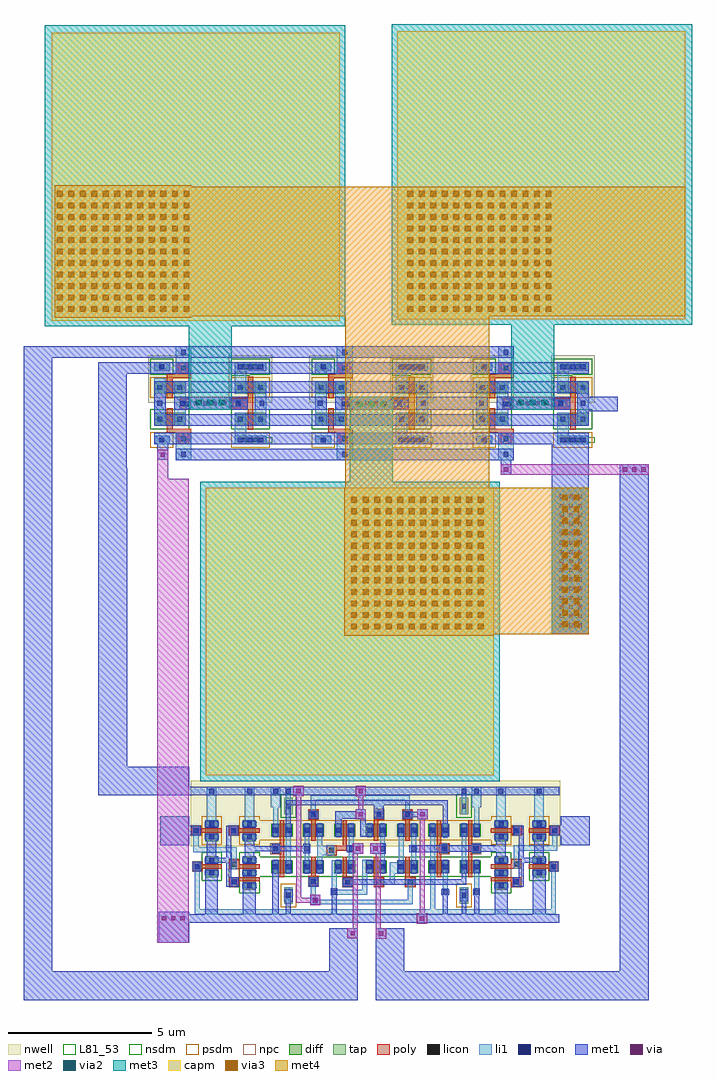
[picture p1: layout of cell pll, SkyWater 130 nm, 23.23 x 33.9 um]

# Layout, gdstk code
from math import pi, radians
import gdstk
lib = gdstk.Library(unit=1e-6, precision=1e-09)
def R(c, l, rs):  # rectangles x0, y0, x1, y1
    for r in rs: c.add(gdstk.rectangle(r[:2], r[2:], *l))
def A(c, l, x, y, w, h, nx, ny, dx, dy):  # array of equal rectangles
    R(c, l, [(x+i*dx, y+j*dy, x+i*dx+w, y+j*dy+h) for i in range(nx) for j in range(ny)])
nwell = (64, 20)
diff = (65, 20)
tap = (65, 44)
poly = (66, 20)
licon = (66, 44)
li1 = (67, 20)
mcon = (67, 44)
met1 = (68, 20)
via = (68, 44)
met2 = (69, 20)
via2 = (69, 44)
met3 = (70, 20)
via3 = (70, 44)
met4 = (71, 20)
L81_53 = (81, 53)
capm = (89, 44)
nsdm = (93, 44)
psdm = (94, 20)
npc = (95, 20)

vcopll = lib.new_cell('vcopll')
A(vcopll, nwell, 0.6, 4.6, 1.5, 1.65, 6, 1, 2.8, 0)
A(vcopll, diff, 0.8, 3.8, 1.1, 0.45, 6, 2, 2.8, 1.1)
A(vcopll, tap, 0.8, 3.15, 0.55, 0.3, 3, 2, 5.6, 2.55)
A(vcopll, tap, 3.6, 3.15, 1.1, 0.3, 3, 2, 5.6, 2.55)
A(vcopll, tap, 3.6, 5.65, 0.4, 0.05, 3, 1, 5.6, 0)
A(vcopll, poly, 1.55, 3.15, 0.55, 0.4, 3, 2, 5.6, 2.45)
A(vcopll, poly, 1.25, 3.55, 0.85, 0.15, 3, 2, 5.6, 1.9)
A(vcopll, poly, 4.05, 3.65, 0.2, 0.7, 3, 1, 5.6, 0)
A(vcopll, poly, 1.25, 3.7, 0.2, 0.7, 3, 2, 5.6, 1.05)
A(vcopll, poly, 1.7, 4.35, 0.4, 0.4, 3, 1, 5.6, 0)
A(vcopll, poly, 3.4, 4.35, 0.85, 0.4, 3, 1, 5.6, 0)
A(vcopll, poly, 4.05, 4.75, 0.2, 0.75, 3, 1, 5.6, 0)
A(vcopll, licon, 1.74, 3.265, 0.17, 0.17, 3, 2, 5.6, 2.45)
R(vcopll, licon, [(0.99,3.215,1.16,3.385), (3.895,3.215,4.065,3.385), (4.235,3.215,4.405,3.385), (6.59,3.215,6.76,3.385), (9.495,3.215,9.665,3.385), (9.835,3.215,10.005,3.385), (12.19,3.215,12.36,3.385), (15.095,3.215,15.265,3.385), (15.435,3.215,15.605,3.385), (0.915,3.94,1.085,4.11), (1.615,3.94,1.785,4.11), (3.715,3.94,3.885,4.11), (4.415,3.94,4.585,4.11), (6.515,3.94,6.685,4.11), (7.215,3.94,7.385,4.11), (9.315,3.94,9.485,4.11), (10.015,3.94,10.185,4.11), (12.115,3.94,12.285,4.11), (12.815,3.94,12.985,4.11), (14.915,3.94,15.085,4.11), (15.615,3.94,15.785,4.11), (1.815,4.465,1.985,4.635), (3.64,4.465,3.81,4.635), (7.415,4.465,7.585,4.635), (9.24,4.465,9.41,4.635), (13.015,4.465,13.185,4.635), (14.84,4.465,15.01,4.635), (0.915,5.04,1.085,5.21), (1.615,5.04,1.785,5.21), (3.715,5.04,3.885,5.21), (4.415,5.04,4.585,5.21), (6.515,5.04,6.685,5.21), (7.215,5.04,7.385,5.21), (9.315,5.04,9.485,5.21), (10.015,5.04,10.185,5.21), (12.115,5.04,12.285,5.21), (12.815,5.04,12.985,5.21), (14.915,5.04,15.085,5.21), (15.615,5.04,15.785,5.21), (0.99,5.765,1.16,5.935), (3.895,5.765,4.065,5.935), (4.235,5.765,4.405,5.935), (6.59,5.765,6.76,5.935), (9.495,5.765,9.665,5.935), (9.835,5.765,10.005,5.935), (12.19,5.765,12.36,5.935), (15.095,5.765,15.265,5.935), (15.435,5.765,15.605,5.935)])
A(vcopll, li1, 1.55, 2.6, 0.55, 0.95, 3, 2, 5.6, 3)
A(vcopll, li1, 0.8, 3.15, 0.55, 0.3, 3, 2, 5.6, 2.55)
A(vcopll, li1, 3.6, 3.15, 1.1, 0.3, 3, 2, 5.6, 2.55)
A(vcopll, li1, 3.6, 3.45, 0.4, 0.8, 3, 2, 5.6, 1.45)
A(vcopll, li1, 1.5, 3.8, 0.4, 0.55, 3, 1, 5.6, 0)
A(vcopll, li1, 1.5, 4.35, 0.6, 0.4, 3, 1, 5.6, 0)
A(vcopll, li1, 3.4, 4.45, 0.65, 0.25, 3, 1, 5.6, 0)
A(vcopll, li1, 1.5, 4.75, 0.4, 0.6, 3, 1, 5.6, 0)
R(vcopll, li1, [(0.8,3.8,1.2,5.45), (4.3,3.8,4.7,5.35), (6.4,3.8,6.8,5.35), (9.9,3.8,10.3,5.35), (12,3.8,12.4,5.35), (15.5,3.8,15.9,5.35), (6.4,5.6,6.8,5.7), (12,5.6,12.4,5.7)])
A(vcopll, mcon, 1.74, 2.715, 0.17, 0.17, 3, 2, 5.6, 3.55)
A(vcopll, mcon, 3.705, 3.215, 0.17, 0.17, 3, 2, 0.36, 2.55)
A(vcopll, mcon, 9.305, 3.215, 0.17, 0.17, 3, 2, 0.36, 2.55)
A(vcopll, mcon, 14.905, 3.215, 0.17, 0.17, 3, 2, 0.36, 2.55)
R(vcopll, mcon, [(0.99,3.215,1.16,3.385), (6.59,3.215,6.76,3.385), (12.19,3.215,12.36,3.385), (7.315,4.465,7.485,4.635), (12.915,4.465,13.085,4.635), (0.915,4.49,1.085,4.66), (1.715,4.49,1.885,4.66), (3.64,4.49,3.81,4.66), (4.465,4.49,4.635,4.66), (6.49,4.49,6.66,4.66), (9.24,4.49,9.41,4.66), (10.065,4.49,10.235,4.66), (12.09,4.49,12.26,4.66), (14.84,4.49,15.01,4.66), (15.615,4.49,15.785,4.66), (0.99,5.765,1.16,5.935), (6.59,5.765,6.76,5.935), (12.19,5.765,12.36,5.935)])
A(vcopll, met1, 1.5, 4.35, 2.55, 0.45, 3, 1, 5.6, 0)
R(vcopll, met1, [(14.61,-3.45,15.9,3.15), (1.55,2.6,13.3,3), (0.8,3.15,15.9,3.55), (0.8,3.8,15.9,4.2), (0.8,4.2,1.2,4.95), (15.5,4.2,15.9,4.3), (15.5,4.3,16.9,4.8), (4.3,4.35,6.8,4.8), (9.9,4.35,12.4,4.8), (15.5,4.8,15.9,4.95), (0.8,4.95,15.9,5.35), (0.8,5.6,15.9,6), (0.8,6.15,13.3,6.55)])
A(vcopll, via, 14.88, -3.215, 0.15, 0.15, 3, 15, 0.32, 0.32)
A(vcopll, via, 2.195, 4.5, 0.15, 0.15, 4, 1, 0.32, 0)
A(vcopll, via, 7.795, 4.5, 0.15, 0.15, 4, 1, 0.32, 0)
A(vcopll, via, 13.395, 4.5, 0.15, 0.15, 4, 1, 0.32, 0)
A(vcopll, met2, 2, 4.35, 1.5, 0.45, 3, 1, 5.6, 0)
R(vcopll, met2, [(14.61,-3.45,15.9,1.65)])
A(vcopll, via2, 14.975, -3.2, 0.2, 0.2, 1, 12, 0, 0.4)
A(vcopll, via2, 15.375, -3.2, 0.2, 0.2, 1, 12, 0, 0.4)
A(vcopll, via2, 7.85, 4.45, 0.2, 0.2, 3, 1, 0.4, 0)
A(vcopll, via2, 2.25, 4.5, 0.2, 0.2, 3, 1, 0.4, 0)
A(vcopll, via2, 13.45, 4.5, 0.2, 0.2, 3, 1, 0.4, 0)
R(vcopll, met3, [(2.4,-8.55,12.8,1.85), (14.61,-3.45,15.9,1.65), (7.6,1.85,9.1,4.8), (2,4.35,3.5,7.25), (13.2,4.35,14.7,7.3), (-3,7.25,7.45,17.7), (9.05,7.3,19.5,17.75)])
A(vcopll, via3, 7.65, -3.275, 0.2, 0.2, 12, 12, 0.4, 0.4)
A(vcopll, via3, 14.975, -3.2, 0.2, 0.2, 1, 12, 0, 0.4)
A(vcopll, via3, 15.375, -3.2, 0.2, 0.2, 1, 12, 0, 0.4)
A(vcopll, via3, -2.575, 7.75, 0.2, 0.2, 12, 11, 0.4, 0.4)
A(vcopll, via3, 9.6, 7.75, 0.2, 0.2, 13, 11, 0.4, 0.4)
R(vcopll, met4, [(7.4,-3.5,12.6,-3.45), (7.4,-3.45,15.9,1.65), (7.45,1.65,12.45,7.6), (-2.65,7.55,2.1,7.6), (-2.65,7.6,19.25,12.1), (-2.65,12.1,2.1,12.15)])
A(vcopll, L81_53, 4.7, 3.2, 0.2, 0.05, 3, 1, 5.6, 0)
A(vcopll, L81_53, 4, 3.25, 0.05, 0.2, 3, 1, 5.6, 0)
A(vcopll, L81_53, 4.2, 3.25, 0.7, 0.15, 3, 1, 5.6, 0)
A(vcopll, L81_53, 4.2, 3.4, 0.5, 0.05, 3, 1, 5.6, 0)
R(vcopll, L81_53, [(1.9,3.15,2.1,3.35), (7.15,3.15,7.7,3.55), (12.75,3.15,13.3,3.55)])
R(vcopll, capm, [(2.6,-8.35,12.6,1.65), (-2.75,7.45,7.25,17.45), (9.25,7.5,19.25,17.5)])
A(vcopll, nsdm, 0.675, 3.675, 1.35, 0.7, 6, 1, 2.8, 0)
A(vcopll, nsdm, 3.475, 5.525, 0.65, 0.05, 3, 1, 5.6, 0)
A(vcopll, nsdm, 0.675, 5.575, 0.8, 0.55, 3, 1, 5.6, 0)
A(vcopll, nsdm, 3.475, 5.575, 1.35, 0.55, 3, 1, 5.6, 0)
A(vcopll, psdm, 0.675, 3.025, 0.8, 0.55, 3, 1, 5.6, 0)
A(vcopll, psdm, 3.475, 3.025, 1.35, 0.55, 3, 1, 5.6, 0)
A(vcopll, psdm, 0.675, 4.775, 1.35, 0.7, 6, 1, 2.8, 0)
A(vcopll, npc, 1.64, 3.165, 0.37, 0.37, 3, 2, 5.6, 2.45)
R(vcopll, npc, [(1.715,4.365,2.085,4.735), (3.54,4.365,3.91,4.735), (7.315,4.365,7.685,4.735), (9.14,4.365,9.51,4.735), (12.915,4.365,13.285,4.735), (14.74,4.365,15.11,4.735)])
vcopll.add(gdstk.Label('VPWR', (15.9,5.81), layer=68, texttype=5))
vcopll.add(gdstk.Label('VCON-', (0.8,6.31), layer=68, texttype=5))
vcopll.add(gdstk.Label('OUT_VCO', (16.9,4.54), layer=68, texttype=5))
vcopll.add(gdstk.Label('VCON+', (1.56,2.77), layer=68, texttype=5))
vcopll.add(gdstk.Label('VGND', (15.9,2.49), layer=68, texttype=5))

sky130_fd_pr__nfet_01v8_ = lib.new_cell('sky130_fd_pr__nfet_01v8_BH4Y4M')
R(sky130_fd_pr__nfet_01v8_, diff, [(-0.365,-0.225,0.365,0.225)])
R(sky130_fd_pr__nfet_01v8_, poly, [(-0.075,-0.355,0.075,0.355)])
R(sky130_fd_pr__nfet_01v8_, licon, [(-0.305,-0.085,-0.135,0.085), (0.135,-0.085,0.305,0.085)])
R(sky130_fd_pr__nfet_01v8_, li1, [(-0.305,-0.245,-0.135,0.245), (0.135,-0.245,0.305,0.245)])
R(sky130_fd_pr__nfet_01v8_, mcon, [(-0.305,-0.085,-0.135,0.085), (0.135,-0.085,0.305,0.085)])
R(sky130_fd_pr__nfet_01v8_, met1, [(-0.335,-0.225,-0.105,0.225), (0.105,-0.225,0.335,0.225)])
R(sky130_fd_pr__nfet_01v8_, nsdm, [(-0.49,-0.35,0.49,0.35)])

c_sky130_fd_pr__nfet_01v8_ = lib.new_cell('sky130_fd_pr__nfet_01v8_9N7ETN')
R(c_sky130_fd_pr__nfet_01v8_, diff, [(-0.365,-0.38,0.365,0.07)])
R(c_sky130_fd_pr__nfet_01v8_, poly, [(-0.075,-0.51,0.075,0.18), (-0.165,0.18,0.165,0.51)])
R(c_sky130_fd_pr__nfet_01v8_, licon, [(-0.305,-0.24,-0.135,-0.07), (0.135,-0.24,0.305,-0.07), (-0.085,0.26,0.085,0.43)])
R(c_sky130_fd_pr__nfet_01v8_, li1, [(-0.305,-0.4,-0.135,0.09), (0.135,-0.4,0.305,0.09), (-0.165,0.26,0.165,0.43)])
R(c_sky130_fd_pr__nfet_01v8_, mcon, [(-0.305,-0.24,-0.135,-0.07), (0.135,-0.24,0.305,-0.07), (-0.085,0.26,0.085,0.43)])
R(c_sky130_fd_pr__nfet_01v8_, met1, [(-0.335,-0.38,-0.105,0.07), (0.105,-0.38,0.335,0.07), (-0.145,0.23,0.145,0.46)])
R(c_sky130_fd_pr__nfet_01v8_, nsdm, [(-0.49,-0.505,0.49,0.195)])
R(c_sky130_fd_pr__nfet_01v8_, npc, [(-0.185,0.16,0.185,0.53)])

sky130_fd_pr__pfet_01v8_ = lib.new_cell('sky130_fd_pr__pfet_01v8_MJZT9K')
R(sky130_fd_pr__pfet_01v8_, nwell, [(-0.545,-0.715,0.545,0.545)])
R(sky130_fd_pr__pfet_01v8_, diff, [(-0.365,-0.405,0.365,0.045)])
R(sky130_fd_pr__pfet_01v8_, poly, [(-0.075,-0.535,0.075,0.2), (-0.165,0.2,0.165,0.53)])
R(sky130_fd_pr__pfet_01v8_, licon, [(-0.305,-0.265,-0.135,-0.095), (0.135,-0.265,0.305,-0.095), (-0.085,0.28,0.085,0.45)])
R(sky130_fd_pr__pfet_01v8_, li1, [(-0.305,-0.425,-0.135,0.065), (0.135,-0.425,0.305,0.065), (-0.165,0.28,0.165,0.45)])
R(sky130_fd_pr__pfet_01v8_, mcon, [(-0.305,-0.265,-0.135,-0.095), (0.135,-0.265,0.305,-0.095), (-0.085,0.28,0.085,0.45)])
R(sky130_fd_pr__pfet_01v8_, met1, [(-0.335,-0.405,-0.105,0.045), (0.105,-0.405,0.335,0.045), (-0.145,0.25,0.145,0.48)])
R(sky130_fd_pr__pfet_01v8_, psdm, [(-0.49,-0.53,0.49,0.17)])
R(sky130_fd_pr__pfet_01v8_, npc, [(-0.185,0.18,0.185,0.55)])

c_sky130_fd_pr__nfet_01v8__ = lib.new_cell('sky130_fd_pr__nfet_01v8_9NP8AN')
R(c_sky130_fd_pr__nfet_01v8__, diff, [(-0.365,-0.225,0.365,0.225)])
R(c_sky130_fd_pr__nfet_01v8__, poly, [(-0.075,-0.355,0.075,0.355)])
R(c_sky130_fd_pr__nfet_01v8__, licon, [(-0.305,-0.085,-0.135,0.085), (0.135,-0.085,0.305,0.085)])
R(c_sky130_fd_pr__nfet_01v8__, li1, [(-0.305,-0.245,-0.135,0.245), (0.135,-0.245,0.305,0.245)])
R(c_sky130_fd_pr__nfet_01v8__, mcon, [(-0.305,-0.085,-0.135,0.085), (0.135,-0.085,0.305,0.085)])
R(c_sky130_fd_pr__nfet_01v8__, met1, [(-0.335,-0.225,-0.105,0.225), (0.105,-0.225,0.335,0.225)])
R(c_sky130_fd_pr__nfet_01v8__, nsdm, [(-0.49,-0.35,0.49,0.35)])

c_sky130_fd_pr__pfet_01v8_ = lib.new_cell('sky130_fd_pr__pfet_01v8_27PL9K')
R(c_sky130_fd_pr__pfet_01v8_, nwell, [(-0.545,-0.535,0.545,0.535)])
R(c_sky130_fd_pr__pfet_01v8_, diff, [(-0.365,-0.225,0.365,0.225)])
R(c_sky130_fd_pr__pfet_01v8_, poly, [(-0.075,-0.355,0.075,0.355)])
R(c_sky130_fd_pr__pfet_01v8_, licon, [(-0.305,-0.085,-0.135,0.085), (0.135,-0.085,0.305,0.085)])
R(c_sky130_fd_pr__pfet_01v8_, li1, [(-0.305,-0.245,-0.135,0.245), (0.135,-0.245,0.305,0.245)])
R(c_sky130_fd_pr__pfet_01v8_, mcon, [(-0.305,-0.085,-0.135,0.085), (0.135,-0.085,0.305,0.085)])
R(c_sky130_fd_pr__pfet_01v8_, met1, [(-0.335,-0.225,-0.105,0.225), (0.105,-0.225,0.335,0.225)])
R(c_sky130_fd_pr__pfet_01v8_, psdm, [(-0.49,-0.35,0.49,0.35)])

c_sky130_fd_pr__nfet_01v8___ = lib.new_cell('sky130_fd_pr__nfet_01v8_ZVHWZ3')
R(c_sky130_fd_pr__nfet_01v8___, diff, [(-0.365,-0.38,0.365,0.07)])
R(c_sky130_fd_pr__nfet_01v8___, poly, [(-0.075,-0.51,0.075,0.18), (-0.165,0.18,0.165,0.51)])
R(c_sky130_fd_pr__nfet_01v8___, licon, [(-0.305,-0.24,-0.135,-0.07), (0.135,-0.24,0.305,-0.07), (-0.085,0.26,0.085,0.43)])
R(c_sky130_fd_pr__nfet_01v8___, li1, [(-0.305,-0.4,-0.135,0.09), (0.135,-0.4,0.305,0.09), (-0.165,0.26,0.165,0.43)])
R(c_sky130_fd_pr__nfet_01v8___, mcon, [(-0.305,-0.24,-0.135,-0.07), (0.135,-0.24,0.305,-0.07), (-0.085,0.26,0.085,0.43)])
R(c_sky130_fd_pr__nfet_01v8___, met1, [(-0.335,-0.38,-0.105,0.07), (0.105,-0.38,0.335,0.07), (-0.145,0.23,0.145,0.46)])
R(c_sky130_fd_pr__nfet_01v8___, nsdm, [(-0.49,-0.505,0.49,0.195)])
R(c_sky130_fd_pr__nfet_01v8___, npc, [(-0.185,0.16,0.185,0.53)])

c_sky130_fd_pr__pfet_01v8__ = lib.new_cell('sky130_fd_pr__pfet_01v8_AWEQGB')
R(c_sky130_fd_pr__pfet_01v8__, nwell, [(-0.545,-0.715,0.545,0.545)])
R(c_sky130_fd_pr__pfet_01v8__, diff, [(-0.365,-0.405,0.365,0.045)])
R(c_sky130_fd_pr__pfet_01v8__, poly, [(-0.075,-0.535,0.075,0.2), (-0.165,0.2,0.165,0.53)])
R(c_sky130_fd_pr__pfet_01v8__, licon, [(-0.305,-0.265,-0.135,-0.095), (0.135,-0.265,0.305,-0.095), (-0.085,0.28,0.085,0.45)])
R(c_sky130_fd_pr__pfet_01v8__, li1, [(-0.305,-0.425,-0.135,0.065), (0.135,-0.425,0.305,0.065), (-0.165,0.28,0.165,0.45)])
R(c_sky130_fd_pr__pfet_01v8__, mcon, [(-0.305,-0.265,-0.135,-0.095), (0.135,-0.265,0.305,-0.095), (-0.085,0.28,0.085,0.45)])
R(c_sky130_fd_pr__pfet_01v8__, met1, [(-0.335,-0.405,-0.105,0.045), (0.105,-0.405,0.335,0.045), (-0.145,0.25,0.145,0.48)])
R(c_sky130_fd_pr__pfet_01v8__, psdm, [(-0.49,-0.53,0.49,0.17)])
R(c_sky130_fd_pr__pfet_01v8__, npc, [(-0.185,0.18,0.185,0.55)])

c_sky130_fd_pr__pfet_01v8___ = lib.new_cell('sky130_fd_pr__pfet_01v8_52DJGB')
R(c_sky130_fd_pr__pfet_01v8___, nwell, [(-0.545,-0.535,0.545,0.535)])
R(c_sky130_fd_pr__pfet_01v8___, diff, [(-0.365,-0.225,0.365,0.225)])
R(c_sky130_fd_pr__pfet_01v8___, poly, [(-0.075,-0.355,0.075,0.355)])
R(c_sky130_fd_pr__pfet_01v8___, licon, [(-0.305,-0.085,-0.135,0.085), (0.135,-0.085,0.305,0.085)])
R(c_sky130_fd_pr__pfet_01v8___, li1, [(-0.305,-0.245,-0.135,0.245), (0.135,-0.245,0.305,0.245)])
R(c_sky130_fd_pr__pfet_01v8___, mcon, [(-0.305,-0.085,-0.135,0.085), (0.135,-0.085,0.305,0.085)])
R(c_sky130_fd_pr__pfet_01v8___, met1, [(-0.335,-0.225,-0.105,0.225), (0.105,-0.225,0.335,0.225)])
R(c_sky130_fd_pr__pfet_01v8___, psdm, [(-0.49,-0.35,0.49,0.35)])

c_sky130_fd_pr__nfet_01v8____ = lib.new_cell('sky130_fd_pr__nfet_01v8_9NESAN')
R(c_sky130_fd_pr__nfet_01v8____, diff, [(-0.365,-0.07,0.365,0.38)])
R(c_sky130_fd_pr__nfet_01v8____, poly, [(-0.165,-0.51,0.165,-0.18), (-0.075,-0.18,0.075,0.51)])
R(c_sky130_fd_pr__nfet_01v8____, licon, [(-0.085,-0.43,0.085,-0.26), (-0.305,0.07,-0.135,0.24), (0.135,0.07,0.305,0.24)])
R(c_sky130_fd_pr__nfet_01v8____, li1, [(-0.165,-0.43,0.165,-0.26), (-0.305,-0.09,-0.135,0.4), (0.135,-0.09,0.305,0.4)])
R(c_sky130_fd_pr__nfet_01v8____, mcon, [(-0.085,-0.43,0.085,-0.26), (-0.305,0.07,-0.135,0.24), (0.135,0.07,0.305,0.24)])
R(c_sky130_fd_pr__nfet_01v8____, met1, [(-0.145,-0.46,0.145,-0.23), (-0.335,-0.07,-0.105,0.38), (0.105,-0.07,0.335,0.38)])
R(c_sky130_fd_pr__nfet_01v8____, nsdm, [(-0.49,-0.195,0.49,0.505)])
R(c_sky130_fd_pr__nfet_01v8____, npc, [(-0.185,-0.53,0.185,-0.16)])

c_sky130_fd_pr__pfet_01v8____ = lib.new_cell('sky130_fd_pr__pfet_01v8_27PL9Z')
R(c_sky130_fd_pr__pfet_01v8____, nwell, [(-0.545,-0.545,0.545,0.715)])
R(c_sky130_fd_pr__pfet_01v8____, diff, [(-0.365,-0.045,0.365,0.405)])
R(c_sky130_fd_pr__pfet_01v8____, poly, [(-0.165,-0.53,0.165,-0.2), (-0.075,-0.2,0.075,0.535)])
R(c_sky130_fd_pr__pfet_01v8____, licon, [(-0.085,-0.45,0.085,-0.28), (-0.305,0.095,-0.135,0.265), (0.135,0.095,0.305,0.265)])
R(c_sky130_fd_pr__pfet_01v8____, li1, [(-0.165,-0.45,0.165,-0.28), (-0.305,-0.065,-0.135,0.425), (0.135,-0.065,0.305,0.425)])
R(c_sky130_fd_pr__pfet_01v8____, mcon, [(-0.085,-0.45,0.085,-0.28), (-0.305,0.095,-0.135,0.265), (0.135,0.095,0.305,0.265)])
R(c_sky130_fd_pr__pfet_01v8____, met1, [(-0.145,-0.48,0.145,-0.25), (-0.335,-0.045,-0.105,0.405), (0.105,-0.045,0.335,0.405)])
R(c_sky130_fd_pr__pfet_01v8____, psdm, [(-0.49,-0.17,0.49,0.53)])
R(c_sky130_fd_pr__pfet_01v8____, npc, [(-0.185,-0.55,0.185,-0.18)])

c_sky130_fd_pr__nfet_01v8_____ = lib.new_cell('sky130_fd_pr__nfet_01v8_VZM9AN')
R(c_sky130_fd_pr__nfet_01v8_____, diff, [(-0.365,-0.225,0.365,0.225)])
R(c_sky130_fd_pr__nfet_01v8_____, poly, [(-0.075,-0.355,0.075,0.355)])
R(c_sky130_fd_pr__nfet_01v8_____, licon, [(-0.305,-0.085,-0.135,0.085), (0.135,-0.085,0.305,0.085)])
R(c_sky130_fd_pr__nfet_01v8_____, li1, [(-0.305,-0.245,-0.135,0.245), (0.135,-0.245,0.305,0.245)])
R(c_sky130_fd_pr__nfet_01v8_____, mcon, [(-0.305,-0.085,-0.135,0.085), (0.135,-0.085,0.305,0.085)])
R(c_sky130_fd_pr__nfet_01v8_____, met1, [(-0.335,-0.225,-0.105,0.225), (0.105,-0.225,0.335,0.225)])
R(c_sky130_fd_pr__nfet_01v8_____, nsdm, [(-0.49,-0.35,0.49,0.35)])

pfd_ver4 = lib.new_cell('pfd_ver4')
R(pfd_ver4, nwell, [(2.91,-0.13,15.74,1.19), (2.9,1.19,15.74,2.14)])
R(pfd_ver4, diff, [(7.89,0.2,8.62,0.65)])
R(pfd_ver4, tap, [(6.15,-2.12,6.44,-1.55), (12.25,-2.12,12.54,-1.55), (6.15,0.98,6.44,1.55), (12.25,0.98,12.54,1.55)])
A(pfd_ver4, poly, 8.18, -1.53, 0.34, 0.33, 3, 1, 1.09, 0)
R(pfd_ver4, poly, [(4.24,-1.53,4.58,-1.35), (14.04,-1.53,14.38,-1.2), (4.24,-1.35,5.3,-1.2), (6,-1.2,6.15,-0.38), (11.45,-1.2,11.6,-0.38), (12.54,-1.2,12.69,-0.38), (4.24,-0.92,4.59,-0.59), (13.93,-0.91,14.38,-0.76), (14.04,-0.76,14.38,-0.58), (7.63,-0.44,7.97,-0.28), (5.72,-0.38,6.15,-0.05), (11.45,-0.38,11.88,-0.05), (12.54,-0.38,12.97,-0.05), (7.63,-0.28,8.33,-0.11), (8.18,-0.11,8.33,0.78), (6,-0.05,6.15,0.78), (11.45,-0.05,11.6,0.78), (12.54,-0.05,12.69,0.78), (9.27,0.07,9.42,0.78), (15.46,0.27,15.64,0.5), (3.01,0.37,3.18,0.57), (9.27,0.78,9.61,1.12)])
A(pfd_ver4, licon, 8.265, -1.455, 0.17, 0.17, 3, 1, 1.09, 0)
R(pfd_ver4, licon, [(6.21,-1.92,6.38,-1.75), (12.31,-1.92,12.48,-1.75), (4.325,-1.45,4.495,-1.28), (14.125,-1.45,14.295,-1.28), (4.325,-0.84,4.495,-0.67), (14.125,-0.83,14.295,-0.66), (7.715,-0.36,7.885,-0.19), (5.775,-0.3,5.945,-0.13), (11.64,-0.3,11.81,-0.13), (12.725,-0.3,12.895,-0.13), (9.36,0.895,9.53,1.065), (6.21,1.18,6.38,1.35), (12.31,1.18,12.48,1.35)])
R(pfd_ver4, li1, [(3.05,-2.49,15.59,-2.32), (3.05,-2.32,3.22,-0.67), (11.22,-2.32,11.39,0.67), (15.42,-2.32,15.59,-0.67), (7.08,-2.15,10.62,-1.98), (6.21,-2.12,6.38,-1.55), (12.31,-2.12,12.48,-1.55), (7.08,-1.98,7.32,-1.92), (10.44,-1.98,10.62,-1.46), (7.08,-1.92,7.25,-1.26), (7.8,-1.81,9.04,-1.64), (11.66,-1.81,11.83,-0.6), (12.75,-1.81,12.92,-0.6), (7.8,-1.64,7.97,-0.61), (8.87,-1.64,9.04,-1.09), (4.32,-1.53,4.5,-1.2), (14.12,-1.53,14.3,-1.2), (8.18,-1.46,8.52,-1.28), (9.27,-1.46,9.99,-1.28), (10.36,-1.46,10.7,-1.28), (9.82,-1.28,9.99,-1.09), (6.86,-1.09,7.03,-0.3), (7.3,-1.09,7.47,-0.44), (8.39,-1.09,8.56,0.67), (8.87,-1.09,9.21,-0.6), (9.48,-1.09,9.65,0.67), (9.82,-1.09,10.3,-0.68), (10.57,-1.09,10.74,-0.3), (12.31,-1.09,12.48,0.67), (6.21,-1.02,6.38,0.58), (4.32,-0.92,4.5,-0.34), (14.12,-0.91,14.3,-0.28), (10.13,-0.68,10.3,0.67), (7.3,-0.44,7.89,-0.11), (5.72,-0.38,6,-0.05), (11.63,-0.38,11.82,-0.05), (12.69,-0.38,12.97,-0.05), (3,-0.34,4.5,-0.16), (6.85,-0.3,7.03,-0.13), (10.56,-0.3,10.75,-0.13), (14.12,-0.28,15.64,-0.1), (3,-0.16,3.18,0.57), (6.86,-0.13,7.03,0.67), (10.57,-0.13,10.74,0.67), (7.3,-0.11,7.47,0.67), (15.46,-0.1,15.64,0.58), (11.66,0.17,11.83,0.51), (5.77,0.18,5.94,1.23), (12.75,0.18,12.92,1.23), (3.47,0.54,3.8,1.94), (4.78,0.55,5.11,1.94), (13.52,0.55,13.85,1.94), (14.84,0.55,15.17,1.94), (7.95,0.59,8.12,0.67), (9.27,0.88,9.61,1.12), (10.35,0.88,10.52,1.47), (7.08,0.89,7.25,1.47), (6.21,0.98,6.38,1.94), (12.31,0.98,12.48,1.94), (5.69,1.23,6.02,1.94), (12.66,1.23,12.99,1.94), (7.08,1.47,10.52,1.64)])
A(pfd_ver4, mcon, 8.39, -0.3, 0.17, 0.17, 3, 1, 1.09, 0)
R(pfd_ver4, mcon, [(7.15,-2.09,7.32,-1.92), (6.21,-1.92,6.38,-1.75), (12.31,-1.92,12.48,-1.75), (7.8,-1.81,7.97,-1.64), (11.66,-1.81,11.83,-1.64), (12.75,-1.81,12.92,-1.64), (4.325,-1.455,4.495,-1.285), (8.265,-1.455,8.435,-1.285), (14.125,-1.45,14.295,-1.28), (5.775,-0.3,5.945,-0.13), (6.855,-0.3,7.025,-0.13), (11.64,-0.3,11.81,-0.13), (12.735,-0.29,12.905,-0.12), (9.36,0.89,9.53,1.06), (3.545,1.7,3.715,1.87), (4.865,1.7,5.035,1.87), (5.775,1.7,5.945,1.87), (6.21,1.7,6.38,1.87), (12.31,1.7,12.48,1.87), (12.745,1.7,12.915,1.87), (13.595,1.7,13.765,1.87), (14.925,1.7,15.095,1.87)])
R(pfd_ver4, met1, [(9.33,-3.98,10.33,-2.98), (7.71,-3.97,8.71,-2.97), (1.85,-3.49,2.85,-2.79), (1.85,-2.79,15.71,-2.49), (3.41,-2.49,3.85,-0.95), (4.72,-2.49,5.17,-1.38), (5.74,-2.49,5.97,-0.61), (6.21,-2.49,6.38,-2.05), (7.8,-2.49,7.97,-1.84), (11.66,-2.49,11.83,-1.84), (12.31,-2.49,12.48,-2.04), (12.75,-2.49,12.92,-1.84), (13.46,-2.49,13.91,-1.38), (14.78,-2.49,15.23,-0.94), (7.05,-2.18,7.41,-1.82), (6.15,-2.05,6.44,-1.63), (12.25,-2.04,12.54,-1.62), (7.77,-1.84,8,-1.58), (11.63,-1.84,11.86,-1.82), (12.72,-1.84,12.95,-1.61), (11.6,-1.82,11.89,-1.64), (11.63,-1.64,11.86,-1.61), (12.75,-1.61,12.92,-1.58), (7,-1.54,7.33,-1.21), (4.14,-1.53,4.58,-1.2), (8.18,-1.53,8.52,-1.46), (14.09,-1.53,14.47,-1.2), (8.18,-1.46,12.48,-1.28), (8.18,-1.28,8.52,-1.22), (12.31,-1.28,12.48,-0.62), (4.14,-1.2,4.32,-0.7), (14.3,-1.2,14.47,-0.7), (2.97,-1,3.27,-0.67), (15.37,-1,15.67,-0.67), (3.41,-0.7,4.32,-0.53), (4.78,-0.7,5.11,-0.3), (13.52,-0.7,13.85,-0.32), (14.3,-0.7,15.17,-0.53), (3.47,-0.53,3.8,0.28), (4.14,-0.53,4.32,0.25), (14.3,-0.53,14.47,0.25), (14.84,-0.53,15.17,0.28), (8.54,-0.39,8.9,-0.33), (9.14,-0.39,9.68,-0.03), (5.74,-0.38,5.98,-0.3), (6.82,-0.38,7.06,-0.3), (11.57,-0.36,11.85,-0.33), (12.69,-0.35,12.95,-0.32), (8.33,-0.33,8.9,-0.1), (10.5,-0.33,11.85,-0.32), (10.5,-0.32,13.85,-0.09), (4.78,-0.3,7.06,-0.13), (4.78,-0.13,5.11,0.28), (5.74,-0.13,5.98,-0.05), (6.82,-0.13,7.06,-0.05), (8.54,-0.1,8.9,-0.03), (1.85,-0.09,2.85,0.25), (11.57,-0.09,11.85,-0.07), (12.69,-0.09,12.95,-0.06), (13.52,-0.09,13.85,0.28), (15.76,-0.09,16.76,0.25), (7.92,0.2,8.15,0.83), (8.79,0.2,9.24,0.65), (1.85,0.25,3.26,0.58), (4.14,0.25,4.56,0.58), (14.12,0.25,14.47,0.58), (15.38,0.25,16.76,0.58), (11.66,0.51,11.83,1.3), (1.85,0.58,2.85,0.91), (6.21,0.58,6.38,1.3), (15.76,0.58,16.76,0.91), (8.79,0.65,8.99,0.83), (10.77,0.8,11.13,0.88), (7,0.82,7.33,1.09), (9.27,0.82,9.61,1.3), (10.27,0.82,10.6,0.88), (7.92,0.83,8.99,1.09), (10.27,0.88,11.13,1.06), (10.27,1.06,10.6,1.09), (10.77,1.06,11.13,1.16), (8.63,1.09,8.99,1.16), (6.21,1.3,11.83,1.47), (1.85,1.64,15.71,1.94), (1.85,1.94,2.85,2.64)])
R(pfd_ver4, via, [(9.435,-3.235,9.585,-3.085), (8.455,-3.225,8.605,-3.075), (10.865,-2.715,11.015,-2.565), (7.155,-2.075,7.305,-1.925), (8.645,-0.285,8.795,-0.135), (9.245,-0.285,9.395,-0.135), (8.735,0.905,8.885,1.055), (10.875,0.905,11.025,1.055), (6.575,1.715,6.725,1.865), (8.735,1.715,8.885,1.865)])
R(pfd_ver4, met2, [(9.33,-3.34,9.69,-2.98), (8.35,-3.33,8.71,-2.97), (9.33,-2.98,9.5,-0.39), (8.54,-2.97,8.71,-0.39), (10.76,-2.82,11.12,-2.46), (10.86,-2.46,11.03,0.8), (7.05,-2.18,7.41,-2.09), (6.57,-2.09,7.41,-1.92), (6.57,-1.92,6.74,1.61), (7.05,-1.92,7.41,-1.82), (8.54,-0.39,8.9,-0.03), (9.14,-0.39,9.5,-0.03), (8.63,0.8,8.99,1.16), (10.77,0.8,11.13,1.16), (8.73,1.16,8.9,1.61), (6.47,1.61,6.83,1.97), (8.63,1.61,8.99,1.97)])
A(pfd_ver4, nsdm, 6.565, -1.195, 0.11, 0.7, 6, 1, 1.09, 0)
R(pfd_ver4, nsdm, [(5.295,-1.195,5.585,-0.495), (13.105,-1.195,13.335,-0.495), (6.025,0.855,6.565,1.675), (12.125,0.855,12.665,1.675)])
A(pfd_ver4, psdm, 9.835, 0.075, 0.11, 0.7, 3, 1, 1.09, 0)
R(pfd_ver4, psdm, [(6.025,-2.245,6.565,-1.425), (12.125,-2.245,12.665,-1.425), (5.295,0.075,5.585,0.775), (6.565,0.075,6.675,0.775), (7.655,0.075,8.855,0.775), (13.105,0.075,13.335,0.775)])
A(pfd_ver4, npc, 8.165, -1.555, 0.37, 0.37, 3, 1, 1.09, 0)
R(pfd_ver4, npc, [(4.225,-1.55,4.595,-0.57), (14.025,-1.55,14.395,-0.56), (7.615,-0.46,7.985,-0.09), (5.675,-0.4,6.045,-0.03), (11.54,-0.4,11.91,-0.03), (12.625,-0.4,12.995,-0.03), (9.26,0.795,9.63,1.165)])
pfd_ver4.add(gdstk.Reference(sky130_fd_pr__nfet_01v8_, (8.255,-0.845)))
pfd_ver4.add(gdstk.Reference(c_sky130_fd_pr__nfet_01v8_, (7.165,-1), rotation=pi))
pfd_ver4.add(gdstk.Reference(sky130_fd_pr__pfet_01v8_, (7.165,0.605)))
pfd_ver4.add(gdstk.Reference(c_sky130_fd_pr__nfet_01v8__, (9.345,-0.845)))
pfd_ver4.add(gdstk.Reference(c_sky130_fd_pr__pfet_01v8_, (9.345,0.425)))
pfd_ver4.add(gdstk.Reference(sky130_fd_pr__nfet_01v8_, (13.685,-1.275), rotation=3*pi/2))
pfd_ver4.add(gdstk.Reference(c_sky130_fd_pr__nfet_01v8___, (15.16,-0.835), rotation=3*pi/2))
pfd_ver4.add(gdstk.Reference(c_sky130_fd_pr__pfet_01v8__, (15.185,0.415), rotation=3*pi/2))
pfd_ver4.add(gdstk.Reference(sky130_fd_pr__nfet_01v8_, (13.685,-0.835), rotation=3*pi/2))
pfd_ver4.add(gdstk.Reference(c_sky130_fd_pr__pfet_01v8__, (13.865,0.415), rotation=3*pi/2))
pfd_ver4.add(gdstk.Reference(sky130_fd_pr__nfet_01v8_, (12.615,-0.845)))
pfd_ver4.add(gdstk.Reference(c_sky130_fd_pr__pfet_01v8___, (12.615,0.425)))
pfd_ver4.add(gdstk.Reference(sky130_fd_pr__nfet_01v8_, (11.525,-0.845)))
pfd_ver4.add(gdstk.Reference(c_sky130_fd_pr__pfet_01v8___, (11.525,0.425)))
pfd_ver4.add(gdstk.Reference(c_sky130_fd_pr__nfet_01v8__, (4.945,-1.275), rotation=3*pi/2))
pfd_ver4.add(gdstk.Reference(c_sky130_fd_pr__nfet_01v8__, (4.945,-0.835), rotation=3*pi/2))
pfd_ver4.add(gdstk.Reference(c_sky130_fd_pr__nfet_01v8____, (3.48,-0.835), rotation=3*pi/2))
pfd_ver4.add(gdstk.Reference(sky130_fd_pr__pfet_01v8_, (10.435,0.605)))
pfd_ver4.add(gdstk.Reference(c_sky130_fd_pr__pfet_01v8___, (8.255,0.425)))
pfd_ver4.add(gdstk.Reference(c_sky130_fd_pr__pfet_01v8____, (3.455,0.415), rotation=3*pi/2))
pfd_ver4.add(gdstk.Reference(c_sky130_fd_pr__pfet_01v8____, (4.765,0.415), rotation=3*pi/2))
pfd_ver4.add(gdstk.Reference(c_sky130_fd_pr__pfet_01v8_, (6.075,0.425), rotation=pi))
pfd_ver4.add(gdstk.Reference(c_sky130_fd_pr__nfet_01v8_____, (6.075,-0.845), rotation=pi))
pfd_ver4.add(gdstk.Reference(c_sky130_fd_pr__nfet_01v8__, (10.435,-0.845)))
pfd_ver4.add(gdstk.Label('VN', (1.85,-3.06), layer=68, texttype=5))
pfd_ver4.add(gdstk.Label('VCn', (10.33,-3.49), layer=68, texttype=5))
pfd_ver4.add(gdstk.Label('REF', (1.85,0.39), layer=68, texttype=5))
pfd_ver4.add(gdstk.Label('FEEDBACK', (16.76,0.41), layer=68, texttype=5))
pfd_ver4.add(gdstk.Label('VP', (1.85,2.2), layer=68, texttype=5))
pfd_ver4.add(gdstk.Label('VCp', (7.71,-3.49), layer=68, texttype=5))

pll = lib.new_cell('pll')
R(pll, met1, [(-1.15,-7.98,10.46,-6.98), (11.08,-7.98,20.56,-6.98), (-1.15,-6.98,-0.15,14.32), (9.46,-6.98,10.46,-5.48), (11.08,-6.98,12.08,-5.49), (19.56,-6.98,20.56,10.63), (3.55,-6,4.6,-4.92), (1.45,-0.87,4.6,0.13), (1.45,0.13,2.45,9.51), (1.44,9.51,2.45,10.51), (15.43,10.27,15.79,10.63), (1.44,10.51,2.44,13.77), (15.43,10.63,15.78,11), (3.5,10.78,3.87,11.56), (1.44,13.77,7.95,14.14), (1.45,14.14,7.95,14.17), (-1.15,14.32,6.94,14.72)])
A(pll, via, 3.655, -5.215, 0.15, 0.15, 3, 1, 0.32, 0)
A(pll, via, 19.665, 10.375, 0.15, 0.15, 3, 1, 0.32, 0)
R(pll, via, [(15.535,10.375,15.685,10.525), (3.61,10.885,3.76,11.035)])
R(pll, met2, [(3.5,-5.99,4.59,10.12), (3.5,10.12,3.87,11.14), (15.43,10.27,20.56,10.63)])
pll.add(gdstk.Reference(vcopll, (2.58,8.17)))
pll.add(gdstk.Reference(pfd_ver4, (1.75,-2.51)))

lib.write_gds('pll.gds')
